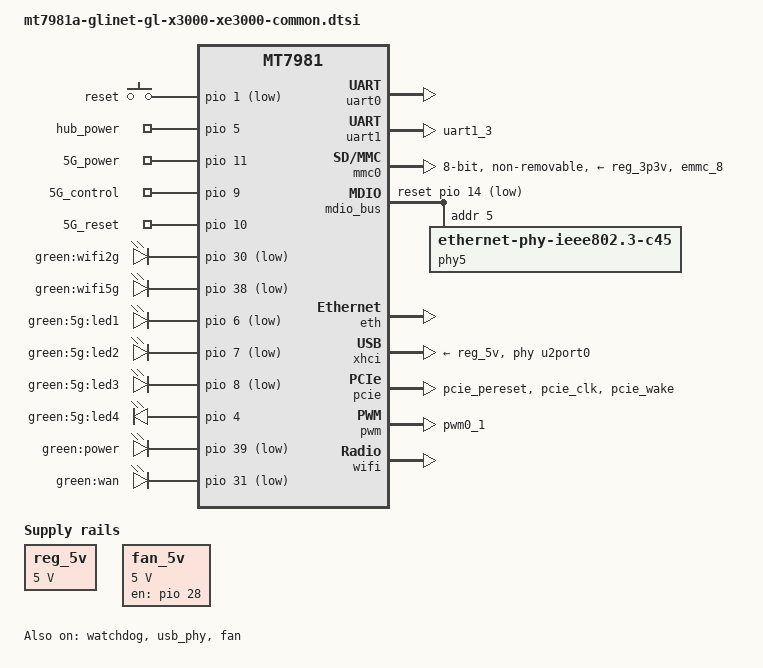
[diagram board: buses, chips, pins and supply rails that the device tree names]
// SPDX-License-Identifier: GPL-2.0-or-later OR MIT

/dts-v1/;

#include "mt7981.dtsi"

/ {
	chosen {
		bootargs = "console=ttyS0,115200n8 root=PARTLABEL=rootfs rootwait";
	};

	aliases {
		led-boot = &led_power;
		led-failsafe = &led_power;
		led-running = &led_power;
		led-upgrade = &led_power;
	};

	reg_5v: regulator-5v {
		compatible = "regulator-fixed";
		regulator-name = "fixed-5V";
		regulator-min-microvolt = <5000000>;
		regulator-max-microvolt = <5000000>;
		regulator-boot-on;
		regulator-always-on;
	};

	fan_5v: regulator-fan-5v {
		compatible = "regulator-fixed";
		regulator-name = "fan";
		regulator-min-microvolt = <5000000>;
		regulator-max-microvolt = <5000000>;
		gpio = <&pio 28 GPIO_ACTIVE_HIGH>;
		enable-active-high;
	};

	gpio-keys {
		compatible = "gpio-keys";

		reset {
			label = "reset";
			linux,code = <KEY_RESTART>;
			gpios = <&pio 1 GPIO_ACTIVE_LOW>;
		};
	};

	gpio-export {
		compatible = "gpio-export";

		hub_power {
			gpio-export,name = "hub_power";
			gpio-export,output = <1>;
			gpios = <&pio 5 GPIO_ACTIVE_HIGH>;
		};

		5G_power {
			gpio-export,name = "5G_power";
			gpio-export,output = <1>;
			gpios = <&pio 11 GPIO_ACTIVE_HIGH>;
		};

		5G_control {
			gpio-export,name = "5G_control";
			gpio-export,output = <1>;
			gpios = <&pio 9 GPIO_ACTIVE_HIGH>;
		};

		5G_reset {
			gpio-export,name = "5G_reset";
			gpio-export,output = <0>;
			gpios = <&pio 10 GPIO_ACTIVE_HIGH>;
		};
	};

	leds {
		compatible = "gpio-leds";

		wifi2g {
			label = "green:wifi2g";
			gpios = <&pio 30 GPIO_ACTIVE_LOW>;
		};

		wifi5g {
			label = "green:wifi5g";
			gpios = <&pio 38 GPIO_ACTIVE_LOW>;
		};

		5g_led1 {
			label = "green:5g:led1";
			gpios = <&pio 6 GPIO_ACTIVE_LOW>;
		};

		5g_led2 {
			label = "green:5g:led2";
			gpios = <&pio 7 GPIO_ACTIVE_LOW>;
		};

		5g_led3 {
			label = "green:5g:led3";
			gpios = <&pio 8 GPIO_ACTIVE_LOW>;
		};

		5g_led4 {
			label = "green:5g:led4";
			gpios = <&pio 4 GPIO_ACTIVE_HIGH>;
		};

		led_power: power {
			label = "green:power";
			gpios = <&pio 39 GPIO_ACTIVE_LOW>;
		};

		wan {
			label = "green:wan";
			gpios = <&pio 31 GPIO_ACTIVE_LOW>;
		};
	};
};

&uart0 {
	status = "okay";
};

&uart1 {
	pinctrl-names = "default";
	pinctrl-0 = <&uart1_pins>;
	status = "okay";
};

&watchdog {
	status = "okay";
};

&mmc0 {
	pinctrl-names = "default", "state_uhs";
	pinctrl-0 = <&mmc0_pins_default>;
	pinctrl-1 = <&mmc0_pins_uhs>;
	bus-width = <8>;
	max-frequency = <52000000>;
	cap-mmc-highspeed;
	vmmc-supply = <&reg_3p3v>;
	non-removable;
	status = "okay";
};

&mdio_bus {
	reset-gpios = <&pio 14 GPIO_ACTIVE_LOW>;
	reset-delay-us = <600>;
	reset-post-delay-us = <20000>;

	phy5: ethernet-phy@5 {
		reg = <5>;
		compatible = "ethernet-phy-ieee802.3-c45";
	};
};

&eth {
	status = "okay";

	gmac0: mac@0 {
		compatible = "mediatek,eth-mac";
		reg = <0>;
		phy-mode = "2500base-x";
		phy-handle = <&phy5>;
	};

	gmac1: mac@1 {
		compatible = "mediatek,eth-mac";
		reg = <1>;
		phy-mode = "gmii";
		phy-handle = <&int_gbe_phy>;
	};
};

&pio {
	mmc0_pins_default: mmc0-pins-default {
		mux {
			function = "flash";
			groups = "emmc_8";
		};
	};
	mmc0_pins_uhs: mmc0-pins-uhs {
		mux {
			function = "flash";
			groups = "emmc_8";
		};
	};
	pcie_pins: pcie-pins {
		mux {
			function = "pcie";
			groups = "pcie_pereset", "pcie_clk", "pcie_wake";
		};
	};
	pwm0_pin: pwm0-pin-g0 {
		mux {
			function = "pwm";
			groups = "pwm0_1";
		};
	};
	uart1_pins: uart1-pins-g1 {
		mux {
			function = "uart";
			groups = "uart1_3";
		};
	};
};

&xhci {
	phys = <&u2port0 PHY_TYPE_USB2>;
	vbus-supply = <&reg_5v>;
	mediatek,u3p-dis-msk = <0x01>;
	status = "okay";
};

&usb_phy {
	status = "okay";
};

&pcie {
	pinctrl-names = "default";
	pinctrl-0 = <&pcie_pins>;
	status = "okay";
};

&pwm {
	pinctrl-names = "default";
	pinctrl-0 = <&pwm0_pin>;
};

&wifi {
	status = "okay";
};

&fan {
	pwms = <&pwm 0 40000 0>;
	fan-supply = <&fan_5v>;
	interrupt-parent = <&pio>;
	interrupts = <29 IRQ_TYPE_EDGE_RISING>;
	status = "okay";
};
